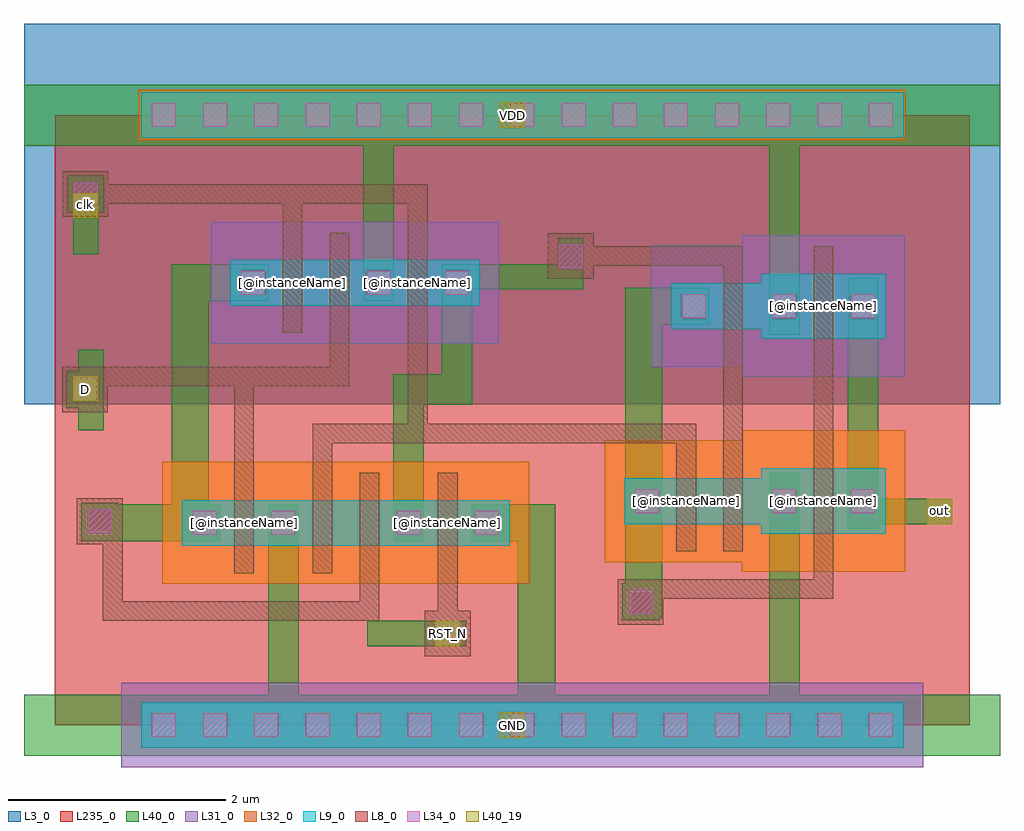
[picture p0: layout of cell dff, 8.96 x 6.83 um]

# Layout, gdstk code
import gdstk
lib = gdstk.Library(unit=1e-6, precision=1e-09)
def R(c, l, rs):  # rectangles x0, y0, x1, y1
    for r in rs: c.add(gdstk.rectangle(r[:2], r[2:], *l))
def A(c, l, x, y, w, h, nx, ny, dx, dy):  # array of equal rectangles
    R(c, l, [(x+i*dx, y+j*dy, x+i*dx+w, y+j*dy+h) for i in range(nx) for j in range(ny)])
L3_0 = (3, 0)
L8_0 = (8, 0)
L9_0 = (9, 0)
L31_0 = (31, 0)
L32_0 = (32, 0)
L34_0 = (34, 0)
L40_0 = (40, 0)
L40_19 = (40, 19)
L235_0 = (235, 0)

ptap_lg_cdns_77815073836 = lib.new_cell('PTAP_LG_CDNS_778150738360')
R(ptap_lg_cdns_77815073836, L9_0, [(-3.5,-0.21,3.5,0.21)])
R(ptap_lg_cdns_77815073836, L31_0, [(-3.68,-0.39,3.68,0.39)])
A(ptap_lg_cdns_77815073836, L34_0, -3.4, -0.11, 0.22, 0.22, 15, 1, 0.47, 0)
R(ptap_lg_cdns_77815073836, L40_0, [(-3.46,-0.17,3.46,0.17)])

m1_po_4x_cdns_7781507383 = lib.new_cell('M1_PO_4X_CDNS_778150738361')
R(m1_po_4x_cdns_7781507383, L8_0, [(-0.21,-0.21,0.21,0.21)])
R(m1_po_4x_cdns_7781507383, L34_0, [(-0.11,-0.11,0.11,0.11)])
R(m1_po_4x_cdns_7781507383, L40_0, [(-0.115,-0.17,0.115,0.17)])

m1_po_cdns_778150738362 = lib.new_cell('M1_PO_CDNS_778150738362')
R(m1_po_cdns_778150738362, L8_0, [(-0.21,-0.21,0.21,0.21)])
R(m1_po_cdns_778150738362, L34_0, [(-0.11,-0.11,0.11,0.11)])
R(m1_po_cdns_778150738362, L40_0, [(-0.17,-0.17,0.17,0.17)])

m1_wn_cdns_778150738363 = lib.new_cell('M1_WN_CDNS_778150738363')
R(m1_wn_cdns_778150738363, L3_0, [(-3.68,-0.43,3.68,0.43)])
R(m1_wn_cdns_778150738363, L9_0, [(-3.5,-0.21,3.5,0.21)])
R(m1_wn_cdns_778150738363, L32_0, [(-3.52,-0.23,3.52,0.23)])
A(m1_wn_cdns_778150738363, L34_0, -3.4, -0.11, 0.22, 0.22, 15, 1, 0.47, 0)
R(m1_wn_cdns_778150738363, L40_0, [(-3.46,-0.17,3.46,0.17)])

c_m1_po_4x_cdns_7781507383 = lib.new_cell('M1_PO_4X_CDNS_778150738364')
R(c_m1_po_4x_cdns_7781507383, L8_0, [(-0.21,-0.21,0.21,0.21)])
R(c_m1_po_4x_cdns_7781507383, L34_0, [(-0.11,-0.11,0.11,0.11)])
R(c_m1_po_4x_cdns_7781507383, L40_0, [(-0.17,-0.115,0.17,0.115)])

dff = lib.new_cell('dff')
R(dff, L3_0, [(-0.28,2.945,8.68,6.44), (6.06,3.115,8.06,4.575), (5.23,3.205,6.92,4.485), (1.185,3.42,2.83,4.7), (1.97,3.42,3.405,4.7), (2.545,3.42,4.335,4.7)])
R(dff, L8_0, [(1.65,1.395,1.83,1.645), (2.37,1.395,2.55,1.645), (2.8,1.395,2.98,1.645), (3.52,1.395,3.7,1.645), (6.97,1.505,7.15,1.755), (5.71,1.595,5.89,1.845), (6.14,1.595,6.32,1.845), (1.65,1.645,1.83,2.065), (2.37,1.645,2.55,2.065), (2.8,1.645,2.98,2.065), (3.52,1.645,3.7,2.065), (6.97,1.755,7.15,2.355), (5.71,1.845,5.89,2.265), (6.14,1.845,6.32,2.265), (1.65,2.065,1.83,2.315), (2.37,2.065,2.55,2.315), (2.8,2.065,2.98,2.315), (3.52,2.065,3.7,2.315), (5.71,2.265,5.89,2.515), (6.14,2.265,6.32,2.515), (6.97,2.355,7.15,2.605), (6.97,3.295,7.15,3.545), (6.14,3.385,6.32,3.635), (6.97,3.545,7.15,4.145), (2.095,3.6,2.275,3.85), (2.525,3.6,2.705,3.85), (3.245,3.6,3.425,3.85), (6.14,3.635,6.32,4.055), (2.095,3.85,2.275,4.27), (2.525,3.85,2.705,4.27), (3.245,3.85,3.425,4.27), (6.14,4.055,6.32,4.305), (6.97,4.145,7.15,4.395), (2.095,4.27,2.275,4.52), (2.525,4.27,2.705,4.52), (3.245,4.27,3.425,4.52)])
R(dff, L9_0, [(1.17,1.645,1.65,2.065), (1.65,1.645,1.83,2.065), (1.83,1.645,2.1,2.065), (2.1,1.645,2.37,2.065), (2.37,1.645,2.55,2.065), (2.55,1.645,2.675,2.065), (2.675,1.645,2.8,2.065), (2.8,1.645,2.98,2.065), (2.98,1.645,3.25,2.065), (3.25,1.645,3.52,2.065), (3.52,1.645,3.7,2.065), (3.7,1.645,4.18,2.065), (6.49,1.755,6.97,2.355), (6.97,1.755,7.15,2.355), (7.15,1.755,7.63,2.355), (5.23,1.845,5.71,2.265), (5.71,1.845,5.89,2.265), (5.89,1.845,6.015,2.265), (6.015,1.845,6.14,2.265), (6.14,1.845,6.32,2.265), (6.32,1.845,6.49,2.265), (6.49,3.545,6.97,4.145), (6.97,3.545,7.15,4.145), (7.15,3.545,7.63,4.145), (5.66,3.635,6.14,4.055), (6.14,3.635,6.32,4.055), (6.32,3.635,6.49,4.055), (1.615,3.85,2.095,4.27), (2.095,3.85,2.275,4.27), (2.275,3.85,2.4,4.27), (2.4,3.85,2.525,4.27), (2.525,3.85,2.705,4.27), (2.705,3.85,2.975,4.27), (2.975,3.85,3.245,4.27), (3.245,3.85,3.425,4.27), (3.425,3.85,3.905,4.27)])
R(dff, L31_0, [(6.31,3.195,7.81,4.495), (5.48,3.285,6.67,4.405), (1.435,3.5,2.58,4.62), (2.22,3.5,3.155,4.62), (2.795,3.5,4.085,4.62)])
R(dff, L32_0, [(0.99,1.295,2.28,2.415), (1.92,1.295,2.855,2.415), (2.495,1.295,3.43,2.415), (3.07,1.295,4.36,2.415), (6.31,1.405,7.81,2.705), (5.05,1.495,6.195,2.615), (5.835,1.495,6.67,2.615)])
R(dff, L34_0, [(1.27,1.745,1.49,1.965), (1.99,1.745,2.21,1.965), (3.14,1.745,3.36,1.965), (3.14,1.745,3.36,1.965), (3.86,1.745,4.08,1.965), (5.33,1.945,5.55,2.165), (6.59,1.945,6.81,2.165), (7.31,1.945,7.53,2.165), (5.76,3.735,5.98,3.955), (6.59,3.735,6.81,3.955), (7.31,3.735,7.53,3.955), (1.715,3.95,1.935,4.17), (2.865,3.95,3.085,4.17), (3.585,3.95,3.805,4.17)])
R(dff, L40_0, [(-0.28,-0.28,8.68,0.28), (1.24,1.685,1.52,2.025), (1.96,1.685,2.24,2.025), (1.96,1.685,2.24,2.025), (3.11,1.685,3.39,2.025), (3.11,1.685,3.39,2.025), (3.83,1.685,4.11,2.025), (6.56,1.795,6.84,2.315), (7.28,1.795,7.56,2.315), (5.3,1.885,5.58,2.225), (6.56,3.585,6.84,4.105), (7.28,3.585,7.56,4.105), (5.73,3.675,6.01,4.015), (1.685,3.89,1.965,4.23), (2.835,3.89,3.115,4.23), (2.835,3.89,3.115,4.23), (3.555,3.89,3.835,4.23), (-0.28,5.32,8.68,5.88)])
R(dff, L40_19, [(4.085,-0.115,4.315,0.115), (3.495,0.725,3.725,0.955), (8.01,1.845,8.24,2.075), (0.17,2.97,0.4,3.2), (0.17,4.65,0.4,4.88), (4.085,5.485,4.315,5.715)])
R(dff, L235_0, [(0,0,8.4,5.6)])
dff.add(gdstk.FlexPath([(2.46,2.675),(2.46,2.315)], 0.18, ends=(0.09, 0), simple_path=True, layer=8, datatype=0))  # L8_0
dff.add(gdstk.FlexPath([(5.8,2.515),(5.8,2.675)], 0.18, ends=(0, 0.09), simple_path=True, layer=8, datatype=0))  # L8_0
dff.add(gdstk.FlexPath([(0.28,2.96),(0.28,3.08)], 0.42, ends=(0.09, 0), simple_path=True, layer=8, datatype=0))  # L8_0
dff.add(gdstk.FlexPath([(6.23,4.305),(4.74,4.305)], 0.18, ends=(0.09, 0), simple_path=True, layer=8, datatype=0))  # L8_0
dff.add(gdstk.FlexPath([(5.8,2.675),(3.335,2.675)], 0.18, ends="extended", simple_path=True, layer=8, datatype=0))  # L8_0
dff.add(gdstk.FlexPath([(5.38,1.25),(5.38,1.06)], 0.18, ends=(0.09, 0), simple_path=True, layer=8, datatype=0))  # L8_0
dff.add(gdstk.FlexPath([(7.06,1.25),(5.38,1.25)], 0.18, ends="extended", simple_path=True, layer=8, datatype=0))  # L8_0
dff.add(gdstk.FlexPath([(7.06,1.505),(7.06,1.25)], 0.18, ends=(0, 0.09), simple_path=True, layer=8, datatype=0))  # L8_0
dff.add(gdstk.FlexPath([(0.28,3.2),(0.28,2.875)], 0.18, ends=(0.09, 0), simple_path=True, layer=8, datatype=0))  # L8_0
dff.add(gdstk.FlexPath([(1.74,3.2),(0.28,3.2)], 0.18, ends="extended", simple_path=True, layer=8, datatype=0))  # L8_0
dff.add(gdstk.FlexPath([(3.335,2.675),(3.335,3.6)], 0.18, ends=(0.09, 0), simple_path=True, layer=8, datatype=0))  # L8_0
dff.add(gdstk.FlexPath([(3.335,2.675),(2.46,2.675)], 0.18, ends="extended", simple_path=True, layer=8, datatype=0))  # L8_0
dff.add(gdstk.FlexPath([(2.185,4.875),(0.285,4.875)], 0.18, ends=(0.09, 0), simple_path=True, layer=8, datatype=0))  # L8_0
dff.add(gdstk.FlexPath([(2.615,3.6),(2.615,3.2)], 0.18, ends=(0, 0.09), simple_path=True, layer=8, datatype=0))  # L8_0
dff.add(gdstk.FlexPath([(2.89,1.045),(0.535,1.045)], 0.18, ends="extended", simple_path=True, layer=8, datatype=0))  # L8_0
dff.add(gdstk.FlexPath([(1.74,2.315),(1.74,3.2)], 0.18, ends=(0, 0.09), simple_path=True, layer=8, datatype=0))  # L8_0
dff.add(gdstk.FlexPath([(7.06,3.295),(7.06,2.315)], 0.18, ends="flush", simple_path=True, layer=8, datatype=0))  # L8_0
dff.add(gdstk.FlexPath([(6.23,3.385),(6.23,2.225)], 0.18, ends="flush", simple_path=True, layer=8, datatype=0))  # L8_0
dff.add(gdstk.FlexPath([(0.535,1.045),(0.535,1.87)], 0.18, ends=(0.09, 0.21), simple_path=True, layer=8, datatype=0))  # L8_0
dff.add(gdstk.FlexPath([(0.535,1.87),(0.415,1.87)], 0.42, ends=(0.09, 0), simple_path=True, layer=8, datatype=0))  # L8_0
dff.add(gdstk.FlexPath([(2.185,4.875),(2.185,4.52)], 0.18, ends=(0.09, 0), simple_path=True, layer=8, datatype=0))  # L8_0
dff.add(gdstk.FlexPath([(3.335,4.875),(2.185,4.875)], 0.18, ends="extended", simple_path=True, layer=8, datatype=0))  # L8_0
dff.add(gdstk.FlexPath([(3.335,4.52),(3.335,4.875)], 0.18, ends=(0, 0.09), simple_path=True, layer=8, datatype=0))  # L8_0
dff.add(gdstk.FlexPath([(3.61,1.395),(3.61,0.79)], 0.18, ends="flush", simple_path=True, layer=8, datatype=0))  # L8_0
dff.add(gdstk.FlexPath([(2.89,1.395),(2.89,1.045)], 0.18, ends=(0, 0.09), simple_path=True, layer=8, datatype=0))  # L8_0
dff.add(gdstk.FlexPath([(2.615,3.2),(1.74,3.2)], 0.18, ends="extended", simple_path=True, layer=8, datatype=0))  # L8_0
dff.add(gdstk.FlexPath([(5.41,2.055),(5.58,2.055)], 0.23, ends=(0.17, 0), simple_path=True, layer=40, datatype=0))  # L40_0
dff.add(gdstk.FlexPath([(5.41,1.15),(5.38,1.15)], 0.34, ends=(0.17, 0), simple_path=True, layer=40, datatype=0))  # L40_0
dff.add(gdstk.FlexPath([(3.61,0.84),(2.87,0.84)], 0.23, ends="flush", simple_path=True, layer=40, datatype=0))  # L40_0
dff.add(gdstk.FlexPath([(2.1,1.685),(2.1,0.28)], 0.28, ends="flush", simple_path=True, layer=40, datatype=0))  # L40_0
dff.add(gdstk.FlexPath([(1.245,1.855),(1.24,1.855)], 0.34, ends=(0.17, 0), simple_path=True, layer=40, datatype=0))  # L40_0
dff.add(gdstk.FlexPath([(1.965,4.06),(1.245,4.06)], 0.34, ends=(0, 0.17), simple_path=True, layer=40, datatype=0))  # L40_0
dff.add(gdstk.FlexPath([(1.245,4.06),(1.245,1.855)], 0.34, ends="extended", simple_path=True, layer=40, datatype=0))  # L40_0
dff.add(gdstk.FlexPath([(4.425,1.855),(4.425,0.28)], 0.34, ends=(0.17, 0), simple_path=True, layer=40, datatype=0))  # L40_0
dff.add(gdstk.FlexPath([(4.11,1.855),(4.425,1.855)], 0.34, ends=(0, 0.17), simple_path=True, layer=40, datatype=0))  # L40_0
dff.add(gdstk.FlexPath([(4.74,4.115),(3.695,4.115)], 0.23, ends=(0.115, 0.14), simple_path=True, layer=40, datatype=0))  # L40_0
dff.add(gdstk.FlexPath([(4.74,4.385),(4.74,4.115)], 0.23, ends=(0, 0.115), simple_path=True, layer=40, datatype=0))  # L40_0
dff.add(gdstk.FlexPath([(3.25,2.025),(3.25,3.08)], 0.28, ends=(0, 0.14), simple_path=True, layer=40, datatype=0))  # L40_0
dff.add(gdstk.FlexPath([(3.25,3.08),(3.695,3.08)], 0.28, ends="extended", simple_path=True, layer=40, datatype=0))  # L40_0
dff.add(gdstk.FlexPath([(6.7,1.815),(6.7,0.28)], 0.28, ends="flush", simple_path=True, layer=40, datatype=0))  # L40_0
dff.add(gdstk.FlexPath([(3.695,3.08),(3.695,3.89)], 0.28, ends=(0.14, 0), simple_path=True, layer=40, datatype=0))  # L40_0
dff.add(gdstk.FlexPath([(5.38,1.13),(5.38,2.055)], 0.23, ends=(0.17, 0.115), simple_path=True, layer=40, datatype=0))  # L40_0
dff.add(gdstk.FlexPath([(6.7,3.825),(6.7,5.88)], 0.28, ends="flush", simple_path=True, layer=40, datatype=0))  # L40_0
dff.add(gdstk.FlexPath([(8.24,1.96),(7.56,1.96)], 0.23, ends="flush", simple_path=True, layer=40, datatype=0))  # L40_0
dff.add(gdstk.FlexPath([(0.335,2.875),(0.335,3.445)], 0.23, ends=(0.17, 0), simple_path=True, layer=40, datatype=0))  # L40_0
dff.add(gdstk.FlexPath([(0.28,2.875),(0.335,2.875)], 0.34, ends=(0, 0.115), simple_path=True, layer=40, datatype=0))  # L40_0
dff.add(gdstk.FlexPath([(0.285,4.875),(0.285,4.32)], 0.23, ends="flush", simple_path=True, layer=40, datatype=0))  # L40_0
dff.add(gdstk.FlexPath([(7.42,3.585),(7.42,2.07)], 0.28, ends="flush", simple_path=True, layer=40, datatype=0))  # L40_0
dff.add(gdstk.FlexPath([(6.01,3.845),(5.41,3.845)], 0.34, ends=(0, 0.17), simple_path=True, layer=40, datatype=0))  # L40_0
dff.add(gdstk.FlexPath([(5.41,3.845),(5.41,1.15)], 0.34, ends="extended", simple_path=True, layer=40, datatype=0))  # L40_0
dff.add(gdstk.FlexPath([(5.38,2.055),(5.41,2.055)], 0.23, ends=(0.115, 0.17), simple_path=True, layer=40, datatype=0))  # L40_0
dff.add(gdstk.FlexPath([(2.975,4.23),(2.975,5.6)], 0.28, ends="flush", simple_path=True, layer=40, datatype=0))  # L40_0
dff.add(gdstk.FlexPath([(0.415,1.87),(0.415,1.855)], 0.34, ends=(0, 0.17), simple_path=True, layer=40, datatype=0))  # L40_0
dff.add(gdstk.FlexPath([(0.415,1.855),(1.24,1.855)], 0.34, ends=(0.17, 0), simple_path=True, layer=40, datatype=0))  # L40_0
dff.add(gdstk.Reference(ptap_lg_cdns_77815073836, (4.295,0)))
dff.add(gdstk.Reference(m1_po_4x_cdns_7781507383, (4.74,4.305)))
dff.add(gdstk.Reference(m1_po_cdns_778150738362, (5.38,1.13)))
dff.add(gdstk.Reference(m1_po_cdns_778150738362, (0.415,1.87)))
dff.add(gdstk.Reference(m1_po_cdns_778150738362, (0.28,3.08)))
dff.add(gdstk.Reference(m1_po_cdns_778150738362, (0.285,4.875)))
dff.add(gdstk.Reference(m1_wn_cdns_778150738363, (4.295,5.6)))
dff.add(gdstk.Reference(c_m1_po_4x_cdns_7781507383, (3.61,0.84)))
dff.add(gdstk.Label('[@instanceName]', (3.61,1.857), layer=77, texttype=7))
dff.add(gdstk.Label('[@instanceName]', (1.74,1.857), layer=77, texttype=7))
dff.add(gdstk.Label('[@instanceName]', (7.06,2.057), layer=77, texttype=7))
dff.add(gdstk.Label('[@instanceName]', (5.8,2.057), layer=77, texttype=7))
dff.add(gdstk.Label('[@instanceName]', (2.185,4.062), layer=77, texttype=7))
dff.add(gdstk.Label('[@instanceName]', (7.06,3.847), layer=77, texttype=7))
dff.add(gdstk.Label('[@instanceName]', (2.89,1.857), layer=77, texttype=7))
dff.add(gdstk.Label('[@instanceName]', (3.335,4.062), layer=77, texttype=7))
dff.add(gdstk.Label('[@instanceName]', (6.23,3.847), layer=77, texttype=7))
dff.add(gdstk.Label('[@instanceName]', (2.615,4.062), layer=77, texttype=7))
dff.add(gdstk.Label('[@instanceName]', (6.23,2.057), layer=77, texttype=7))
dff.add(gdstk.Label('[@instanceName]', (2.46,1.857), layer=77, texttype=7))
dff.add(gdstk.Label('RST_N', (3.61,0.84), layer=40, texttype=0))
dff.add(gdstk.Label('VDD', (4.2,5.6), layer=40, texttype=0))
dff.add(gdstk.Label('GND', (4.2,0), layer=40, texttype=0))
dff.add(gdstk.Label('RST_N', (3.61,0.86), layer=40, texttype=7))
dff.add(gdstk.Label('RST_N', (3.61,0.86), layer=40, texttype=7))
dff.add(gdstk.Label('RST_N', (3.59,0.855), layer=40, texttype=7))
dff.add(gdstk.Label('RST_N', (3.61,0.865), layer=40, texttype=7))
dff.add(gdstk.Label('RST_N', (3.61,0.865), layer=40, texttype=7))
dff.add(gdstk.Label('RST_N', (3.62,0.845), layer=40, texttype=7))
dff.add(gdstk.Label('RST_N', (3.625,0.845), layer=40, texttype=7))
dff.add(gdstk.Label('RST_N', (3.625,0.845), layer=40, texttype=7))
dff.add(gdstk.Label('VDD', (4.19,5.595), layer=40, texttype=7))
dff.add(gdstk.Label('out', (8.125,1.965), layer=40, texttype=7))
dff.add(gdstk.Label('RST_N', (3.625,0.845), layer=40, texttype=7))
dff.add(gdstk.Label('RST_N', (3.61,0.85), layer=40, texttype=7))
dff.add(gdstk.Label('D', (0.285,3.08), layer=40, texttype=7))
dff.add(gdstk.Label('GND', (4.2,0), layer=40, texttype=7))
dff.add(gdstk.Label('RST_N', (3.625,0.855), layer=40, texttype=7))
dff.add(gdstk.Label('RST_N', (3.615,0.85), layer=40, texttype=7))
dff.add(gdstk.Label('clk', (0.28,4.78), layer=40, texttype=7))
dff.add(gdstk.Label('RST_N', (3.62,0.84), layer=40, texttype=7))

lib.write_gds('dff.gds')
